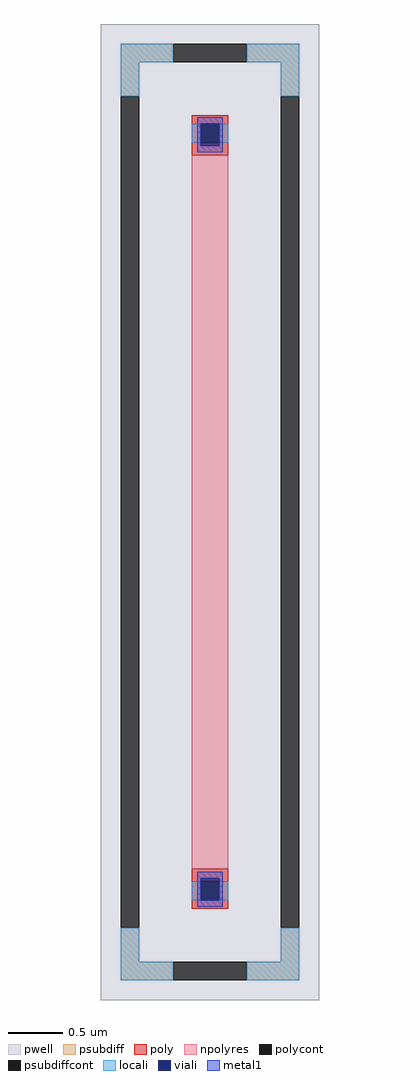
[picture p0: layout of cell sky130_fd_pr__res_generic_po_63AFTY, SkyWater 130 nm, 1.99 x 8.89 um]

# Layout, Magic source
magic
tech sky130A
magscale 1 2
<< pwell >>
rect -199 -889 199 889
<< psubdiff >>
rect -163 819 -67 853
rect 67 819 163 853
rect -163 757 -129 819
rect 129 757 163 819
rect -163 -819 -129 -757
rect 129 -819 163 -757
rect -163 -853 -67 -819
rect 67 -853 163 -819
<< psubdiffcont >>
rect -67 819 67 853
rect -163 -757 -129 757
rect 129 -757 163 757
rect -67 -853 67 -819
<< poly >>
rect -33 707 33 723
rect -33 673 -17 707
rect 17 673 33 707
rect -33 650 33 673
rect -33 -673 33 -650
rect -33 -707 -17 -673
rect 17 -707 33 -673
rect -33 -723 33 -707
<< polycont >>
rect -17 673 17 707
rect -17 -707 17 -673
<< npolyres >>
rect -33 -650 33 650
<< locali >>
rect -163 819 -67 853
rect 67 819 163 853
rect -163 757 -129 819
rect 129 757 163 819
rect -33 673 -17 707
rect 17 673 33 707
rect -33 -707 -17 -673
rect 17 -707 33 -673
rect -163 -819 -129 -757
rect 129 -819 163 -757
rect -163 -853 -67 -819
rect 67 -853 163 -819
<< viali >>
rect -17 673 17 707
rect -17 667 17 673
rect -17 -673 17 -667
rect -17 -707 17 -673
<< metal1 >>
rect -23 707 23 719
rect -23 667 -17 707
rect 17 667 23 707
rect -23 655 23 667
rect -23 -667 23 -655
rect -23 -707 -17 -667
rect 17 -707 23 -667
rect -23 -719 23 -707
<< properties >>
string FIXED_BBOX -146 -836 146 836
string gencell sky130_fd_pr__res_generic_po
string library sky130
string parameters w 0.330 l 6.5 m 1 nx 1 wmin 0.330 lmin 1.650 rho 48.2 val 949.393 dummy 0 dw 0.0 term 0.0 sterm 0.0 caplen 0.4 snake 0 guard 1 glc 1 grc 1 gtc 1 gbc 1 roverlap 0 endcov 100 full_metal 1 hv_guard 0 n_guard 0 vias 1 viagb 0 viagt 0 viagl 0 viagr 0
<< end >>
